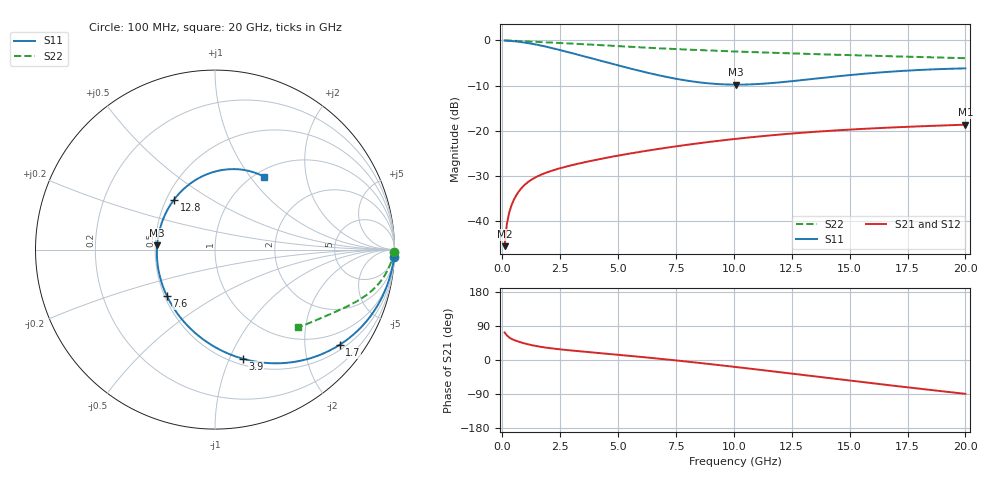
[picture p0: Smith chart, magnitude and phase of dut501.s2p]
! Touchstone file exported from HFSS 2024.1.0
!  File:  C:/UserFiles/LocalFiles/RDL_TSV_Batchsim/temp_RDL_TSV_501_1779737446.aedt
!  Generated:  03:49:40 AM May 26, 2026
!  Design:  RDL_TSV
!  Project:  temp_RDL_TSV_501_1779737446
!  Setup:  Setup1
!  Solution:  Sweep
! Variables:
!  dtsv = 5.33um
!  hbump = 3um
!  htsv = 97.28um
!  ldown = 269.1um
!  lrdl = 313.71um
!  p = 40
!  p1 = 41.2um
!  rhole = 10um
!  subl = 2062.14um
!  t = 450um
!  tdown = 2.82um
!  trdl = 4.69um
!  viad = 10um
!  wdown = 29.97um
!  wrdl = 23.2um
!  xbump = 18um
# GHz S MA R 50.000000
! Terminal data exported
! Port[1] = TM1_1_T1
! Port[2] = TM1_4_T1
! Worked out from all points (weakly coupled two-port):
!   200 points, 100 MHz to 20 GHz, reference 50 ohm
!   highest |S21| = -18.68 dB at 20 GHz (marker M1); lowest = -45.6 dB at 100 MHz (marker M2)
!   lowest |S11| = -9.8 dB at 10.1 GHz (marker M3), VSWR 1.96, Z = 25.6 + j1.31 ohm
!   |S11| at or under -10 dB: nowhere
!   |S22| runs from -3.9 to 0.0 dB; largest |S21 - S12| = 2.3e-14
!   S11 on the Smith chart (normalised r, x): 100 MHz: 2, -46; 1.7 GHz: 0.63, -2.83; 3.9 GHz: 0.56, -1.12; 7.6 GHz: 0.51, -0.31; 12.8 GHz: 0.55, +0.35; 20 GHz: 1.10, +1.18
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0.1  0.9981 -2.5  0.005243 72.8  0.005243 72.8  0.9985 -0.7
! Gamma 0 0 0 0
! Port Impedance 50 0 50 0
0.2  0.9946 -5.0  0.009328 64.8  0.009328 64.8  0.9972 -1.3
0.3  0.99 -7.3  0.01241 59.3  0.01241 59.3  0.9951 -1.9
0.5  0.9791 -11.9  0.01714 52.9  0.01714 52.9  0.9898 -2.9
0.7  0.9664 -16.4  0.02096 48.5  0.02096 48.5  0.9847 -3.9
1  0.9434 -22.9  0.02552 43.1  0.02552 43.1  0.9774 -5.2
1.7  0.8737 -37.4  0.03269 34.4  0.03269 34.4  0.96 -8.1
2.5  0.7811 -52.5  0.03833 28.1  0.03833 28.1  0.9372 -11.1
3.5  0.6685 -69.4  0.04433 22.1  0.04433 22.1  0.9066 -14.3
3.9  0.6272 -75.7  0.04662 19.9  0.04662 19.9  0.8944 -15.5
5.3  0.5043 -97.6  0.05455 12.2  0.05455 12.2  0.8542 -18.9
6.8  0.4083 -122.1  0.06302 3.3  0.06302 3.3  0.8167 -22.0
7.6  0.3718 -136.2  0.06753 -1.7  0.06753 -1.7  0.7992 -23.4
8.8  0.3362 -158.8  0.0742 -9.6  0.0742 -9.6  0.7756 -25.5
10.1  0.3233 175.9  0.08117 -18.6  0.08117 -18.6  0.7531 -27.5
11.4  0.333 152.0  0.08772 -27.9  0.08772 -27.9  0.733 -29.5
12.8  0.3598 129.4  0.09414 -38.1  0.09414 -38.1  0.7137 -31.6
13.4  0.3738 120.8  0.09666 -42.5  0.09666 -42.5  0.706 -32.5
15  0.4127 100.8  0.1027 -54.2  0.1027 -54.2  0.6868 -35.0
16.7  0.4489 83.0  0.108 -66.5  0.108 -66.5  0.6682 -37.6
18.3  0.474 68.8  0.1123 -77.7  0.1123 -77.7  0.6518 -40.1
20  0.4897 55.8  0.1165 -89.3  0.1165 -89.3  0.635 -43.0
